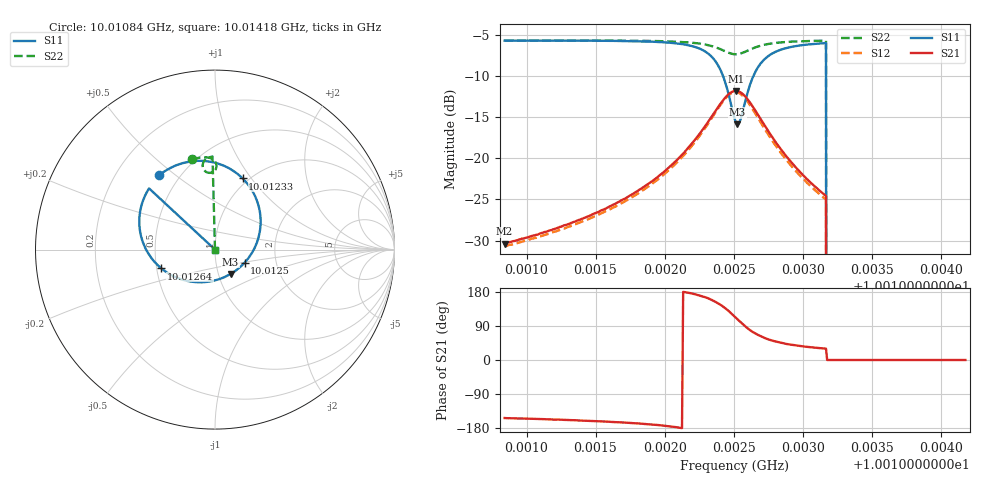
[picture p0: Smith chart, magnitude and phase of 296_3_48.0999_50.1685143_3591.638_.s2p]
#  HZ  S  RI  R  50.00
! Rohde & Schwarz Vector Network Analyzer
! Rohde-Schwarz,ZNB20-2Port,1311601062101988,3.16
! Created: UTC 12/23/2023, 4:04:17 AM
! freq[Hz]  re:S11  im:S11  re:S21  im:S21  re:S12  im:S12  re:S22  im:S22
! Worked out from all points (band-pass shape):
!   401 points, 10.01084 GHz to 10.01418 GHz, reference 50 ohm
!   highest |S21| = -11.81 dB at 10.01252 GHz (marker M1); lowest = -30.4 dB at 10.01084 GHz (marker M2)
!   |S21| within 3 dB of the highest: 10.01235 GHz to 10.01268 GHz (333.9 kHz wide, 0.00333 % of centre)
!   lowest |S11| = -15.8 dB at 10.01253 GHz (marker M3), VSWR 1.38, Z = 57.1 - j16 ohm
!   |S11| at or under -10 dB: 10.01242 GHz to 10.01264 GHz (220 kHz wide, 0.0022 % of centre); 10.01317 GHz to end of sweep
!   |S22| runs from - to -5.7 dB; largest |S21 - S12| = 0.013
!   S11 on the Smith chart (normalised r, x): 10.01084 GHz: 0.39, +0.44; 10.01233 GHz: 0.94, +0.91; 10.0125 GHz: 1.38, -0.21; 10.01264 GHz: 0.53, -0.12; 10.01418 GHz: 1.00, +0.00
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1.0010841e10  -0.3135 0.4135  -0.027 -0.0137  -0.0254 -0.0147  -0.1291 0.5036
1.00114e10  -0.2552 0.4513  -0.0403 -0.0148  -0.0379 -0.0163  -0.0901 0.5119
1.0011959e10  -0.1302 0.492  -0.0775 -0.0111  -0.0741 -0.0147  -0.0426 0.5135
1.0012201e10  0.0145 0.4798  -0.1233 0.0101  -0.1202 0.00339  -0.013 0.5036
1.0012327e10  0.154 0.3965  -0.1625 0.0556  -0.1618 0.045  0.00435 0.4847
1.0012385e10  0.2249 0.2944  -0.1763 0.1011  -0.1786 0.0892  0.00846 0.4673
1.0012435e10  0.2544 0.1523  -0.1719 0.1551  -0.1761 0.1448  0.0042 0.4486
1.0012502e10  0.1651 -0.0728  -0.1143 0.2289  -0.1206 0.221  -0.0205 0.4287
1.001251e10  0.1416 -0.0961  -0.1033 0.2349  -0.1095 0.2274  -0.0248 0.4279
1.0012518e10  0.1128 -0.1191  -0.0903 0.2404  -0.0968 0.2331  -0.0293 0.4275
1.0012527e10  0.0867 -0.136  -0.0793 0.2439  -0.0847 0.2368  -0.0337 0.4279
1.0012552e10  -0.00849 -0.1737  -0.0414 0.2478  -0.0468 0.241  -0.0461 0.431
1.0012577e10  -0.1054 -0.1814  -0.00476 0.2411  -0.0106 0.2345  -0.0563 0.4379
1.0012644e10  -0.2984 -0.1052  0.0598 0.1943  0.0519 0.1884  -0.0687 0.4622
1.0012702e10  -0.3821 -0.00322  0.0805 0.1496  0.0727 0.1452  -0.067 0.4801
1.0012769e10  -0.4167 0.0971  0.0848 0.11  0.0772 0.1075  -0.0594 0.4943
1.0012902e10  -0.4145 0.2256  0.0739 0.0646  0.0678 0.0645  -0.0424 0.5086
1.0013069e10  -0.3851 0.31  0.0583 0.0385  0.0538 0.0391  -0.0237 0.5163
1.0013153e10  -0.3702 0.3364  0.0522 0.0308  0.0482 0.0316  -0.0156 0.5183
1.0013194e10  0 0  0 0  0 0  0 0
1.0013628e10  0 0  0 0  0 0  0 0
1.0014179e10  0 0  0 0  0 0  0 0
